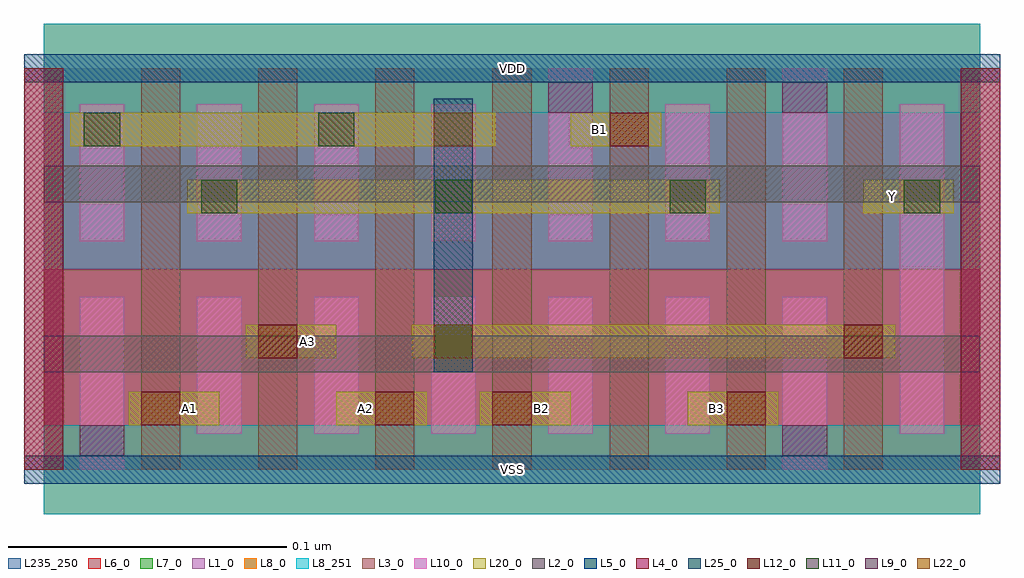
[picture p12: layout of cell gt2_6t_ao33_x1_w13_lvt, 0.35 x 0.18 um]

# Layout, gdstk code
import gdstk
lib = gdstk.Library(unit=1e-6, precision=5e-10)
def R(c, l, rs):  # rectangles x0, y0, x1, y1
    for r in rs: c.add(gdstk.rectangle(r[:2], r[2:], *l))
def A(c, l, x, y, w, h, nx, ny, dx, dy):  # array of equal rectangles
    R(c, l, [(x+i*dx, y+j*dy, x+i*dx+w, y+j*dy+h) for i in range(nx) for j in range(ny)])
L1_0 = (1, 0)
L2_0 = (2, 0)
L3_0 = (3, 0)
L4_0 = (4, 0)
L5_0 = (5, 0)
L6_0 = (6, 0)
L7_0 = (7, 0)
L8_0 = (8, 0)
L8_251 = (8, 251)
L9_0 = (9, 0)
L10_0 = (10, 0)
L11_0 = (11, 0)
L12_0 = (12, 0)
L20_0 = (20, 0)
L22_0 = (22, 0)
L25_0 = (25, 0)
L235_250 = (235, 250)

gt2_6t_ao33_x1_w13_lvt = lib.new_cell('gt2_6t_ao33_x1_w13_lvt')
R(gt2_6t_ao33_x1_w13_lvt, L1_0, [(0,0.072,0.336,0.144)])
R(gt2_6t_ao33_x1_w13_lvt, L2_0, [(0,0.035,0.336,0.048), (0,0.096,0.336,0.109)])
A(gt2_6t_ao33_x1_w13_lvt, L3_0, -0.007, 0, 0.014, 0.144, 9, 1, 0.042, 0)
R(gt2_6t_ao33_x1_w13_lvt, L4_0, [(-0.007,0,0.007,0.144), (0.329,0,0.343,0.144)])
R(gt2_6t_ao33_x1_w13_lvt, L5_0, [(-0.007,-0.005,0.343,0.005), (-0.007,0.139,0.343,0.149)])
R(gt2_6t_ao33_x1_w13_lvt, L6_0, [(0,0,0.336,0.072)])
R(gt2_6t_ao33_x1_w13_lvt, L7_0, [(0,0.072,0.336,0.144)])
R(gt2_6t_ao33_x1_w13_lvt, L8_0, [(0,-0.016,0.336,0.016), (0,0.128,0.336,0.16)])
R(gt2_6t_ao33_x1_w13_lvt, L8_251, [(0,-0.016,0.336,0.016), (0,0.128,0.336,0.16)])
R(gt2_6t_ao33_x1_w13_lvt, L9_0, [(0.013,0.005,0.029,0.016), (0.265,0.005,0.281,0.016), (0.181,0.128,0.197,0.139), (0.265,0.128,0.281,0.139)])
A(gt2_6t_ao33_x1_w13_lvt, L10_0, 0.055, 0.013, 0.016, 0.049, 5, 1, 0.042, 0)
A(gt2_6t_ao33_x1_w13_lvt, L10_0, 0.013, 0.082, 0.016, 0.049, 4, 1, 0.042, 0)
R(gt2_6t_ao33_x1_w13_lvt, L10_0, [(0.013,0,0.029,0.062), (0.265,0,0.281,0.062), (0.307,0.013,0.323,0.131), (0.181,0.082,0.197,0.144), (0.223,0.082,0.239,0.131), (0.265,0.082,0.281,0.144)])
A(gt2_6t_ao33_x1_w13_lvt, L11_0, 0.0565, 0.092, 0.013, 0.012, 4, 1, 0.084, 0)
R(gt2_6t_ao33_x1_w13_lvt, L11_0, [(0.1405,0.04,0.1535,0.052), (0.0145,0.116,0.0275,0.128), (0.0985,0.116,0.1115,0.128)])
R(gt2_6t_ao33_x1_w13_lvt, L12_0, [(0.035,0.016,0.049,0.028), (0.119,0.016,0.133,0.028), (0.161,0.016,0.175,0.028), (0.245,0.016,0.259,0.028), (0.077,0.04,0.091,0.052), (0.287,0.04,0.301,0.052), (0.203,0.116,0.217,0.128)])
R(gt2_6t_ao33_x1_w13_lvt, L20_0, [(0.0305,0.016,0.063,0.028), (0.105,0.016,0.1375,0.028), (0.1565,0.016,0.189,0.028), (0.231,0.016,0.2635,0.028), (0.0725,0.04,0.105,0.052), (0.132,0.04,0.3055,0.052), (0.0515,0.092,0.2425,0.104), (0.294,0.092,0.3265,0.104), (0.0095,0.116,0.162,0.128), (0.189,0.116,0.2215,0.128)])
R(gt2_6t_ao33_x1_w13_lvt, L22_0, [(0.14,0.04,0.154,0.052), (0.14,0.116,0.154,0.128)])
R(gt2_6t_ao33_x1_w13_lvt, L25_0, [(0.14,0.035,0.154,0.133)])
R(gt2_6t_ao33_x1_w13_lvt, L235_250, [(0,0,0.336,0.144)])
gt2_6t_ao33_x1_w13_lvt.add(gdstk.Label('VSS', (0.168,0), layer=8, texttype=251))
gt2_6t_ao33_x1_w13_lvt.add(gdstk.Label('VDD', (0.168,0.144), layer=8, texttype=251))
gt2_6t_ao33_x1_w13_lvt.add(gdstk.Label('Y', (0.3045,0.098), layer=20, texttype=251))
gt2_6t_ao33_x1_w13_lvt.add(gdstk.Label('B1', (0.1995,0.122), layer=20, texttype=251))
gt2_6t_ao33_x1_w13_lvt.add(gdstk.Label('A2', (0.1155,0.022), layer=20, texttype=251))
gt2_6t_ao33_x1_w13_lvt.add(gdstk.Label('A3', (0.0945,0.046), layer=20, texttype=251))
gt2_6t_ao33_x1_w13_lvt.add(gdstk.Label('B2', (0.1785,0.022), layer=20, texttype=251))
gt2_6t_ao33_x1_w13_lvt.add(gdstk.Label('B3', (0.2415,0.022), layer=20, texttype=251))
gt2_6t_ao33_x1_w13_lvt.add(gdstk.Label('A1', (0.0525,0.022), layer=20, texttype=251))

lib.write_gds('gt2_6t_ao33_x1_w13_lvt.gds')
